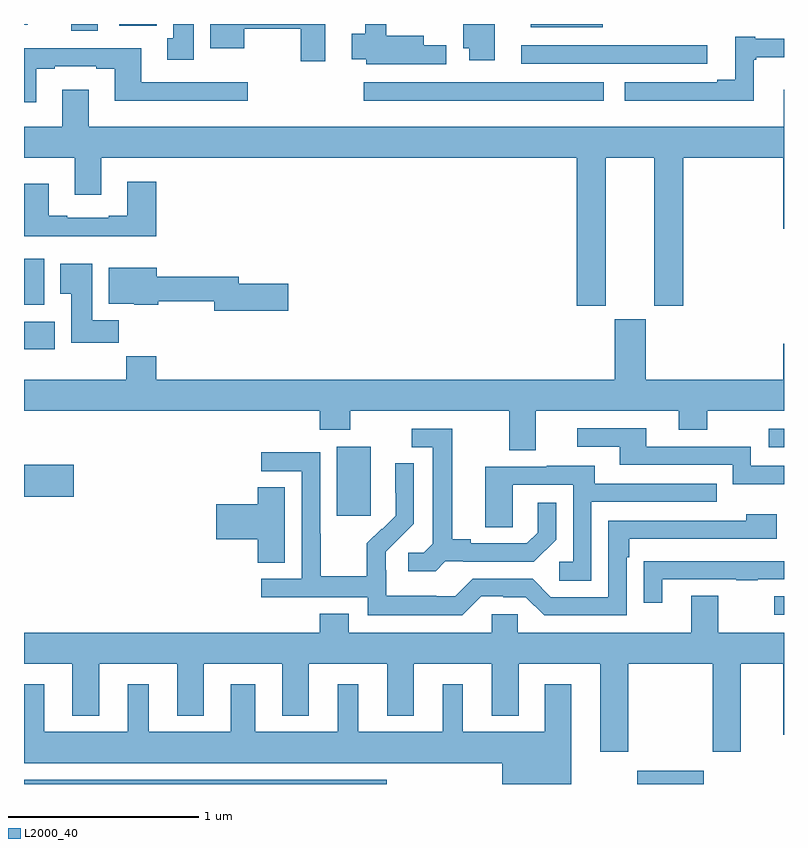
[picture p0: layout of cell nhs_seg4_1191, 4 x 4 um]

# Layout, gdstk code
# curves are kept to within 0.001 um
import gdstk
lib = gdstk.Library(unit=1e-6, precision=1e-09)
def R(c, l, rs):  # rectangles x0, y0, x1, y1
    for r in rs: c.add(gdstk.rectangle(r[:2], r[2:], *l))
def P(c, l, *ps):  # polygons
    for p in ps: c.add(gdstk.Polygon(p, *l))
L2000_40 = (2000, 40)

nhs_seg4_1191 = lib.new_cell('nhs_seg4_1191')
R(nhs_seg4_1191, L2000_40, [(173,750.9,174.91,750.922), (176.228,750.9,176.578,750.97), (176.949,751.791,177,751.887), (174.647,752.313,174.826,752.674), (173,752.411,173.263,752.581), (176.919,752.673,177,752.769), (173,753.188,173.161,753.334), (173,753.422,173.107,753.664), (174.789,754.496,176.05,754.593), (173.249,754.865,173.389,754.9), (175.667,754.883,176.047,754.9), (173.501,754.892,173.698,754.9), (173,754.896,173.02,754.9)])
P(nhs_seg4_1191, L2000_40, [(173.893,754.9),(173.786,754.9),(173.786,754.826),(173.753,754.826),(173.753,754.713),(173.893,754.713)],
  [(174.586,754.9),(173.981,754.9),(173.981,754.772),(174.16,754.772),(174.16,754.876),(174.457,754.876),(174.457,754.704),(174.586,754.704)],
  [(175.477,754.9),(175.313,754.9),(175.313,754.772),(175.343,754.772),(175.343,754.71),(175.477,754.71)],
  [(175.222,754.787),(175.105,754.787),(175.105,754.837),(174.907,754.837),(174.907,754.9),(174.797,754.9),(174.797,754.85),(174.725,754.85),(174.725,754.715),(174.801,754.715),(174.801,754.688),(175.222,754.688)],
  [(176.842,754.713),(176.854,754.713),(176.854,754.724),(177,754.724),(177,754.822),(176.848,754.822),(176.848,754.834),(176.744,754.834),(176.744,754.606),(176.648,754.606),(176.648,754.593),(176.163,754.593),(176.163,754.496),(176.842,754.496)],
  [(176.596,754.789),(176.143,754.789),(176.143,754.788),(175.617,754.788),(175.617,754.692),(176.596,754.692)],
  [(173.065,754.665),(173.161,754.665),(173.161,754.677),(173.381,754.677),(173.381,754.665),(173.477,754.665),(173.477,754.496),(174.178,754.496),(174.178,754.593),(173.617,754.593),(173.617,754.773),(173,754.773),(173,754.488),(173.065,754.488)],
  [(176.062,754.196),(176.318,754.196),(176.318,753.417),(176.471,753.417),(176.471,754.196),(176.996,754.196),(176.996,753.822),(177,753.822),(177,754.555),(176.999,754.555),(176.999,754.36),(173.341,754.36),(173.341,754.555),(173.201,754.555),(173.201,754.36),(173,754.36),(173,754.196),(173.267,754.196),(173.267,754.002),(173.407,754.002),(173.407,754.196),(175.91,754.196),(175.91,753.417),(176.062,753.417)],
  [(173.696,754.069),(173.543,754.069),(173.543,753.892),(173.447,753.892),(173.447,753.879),(173.227,753.879),(173.227,753.892),(173.131,753.892),(173.131,754.06),(173,754.06),(173,753.782),(173.696,753.782)],
  [(173.498,753.34),(173.359,753.34),(173.359,753.637),(173.192,753.637),(173.192,753.481),(173.249,753.481),(173.249,753.222),(173.498,753.222)],
  [(174.391,753.533),(174.13,753.533),(174.13,753.569),(173.698,753.569),(173.698,753.616),(173.447,753.616),(173.447,753.428),(173.58,753.428),(173.58,753.422),(173.706,753.422),(173.706,753.441),(174.002,753.441),(174.002,753.391),(174.391,753.391)],
  [(175.693,752.864),(176.447,752.864),(176.447,752.765),(176.595,752.765),(176.595,752.864),(177,752.864),(177,753.217),(176.996,753.217),(176.996,753.028),(176.272,753.028),(176.272,753.345),(176.108,753.345),(176.108,753.028),(173.696,753.028),(173.696,753.152),(173.539,753.152),(173.539,753.028),(173,753.028),(173,752.864),(174.557,752.864),(174.557,752.765),(174.717,752.765),(174.717,752.864),(175.553,752.864),(175.553,752.656),(175.693,752.656)],
  [(177,752.574),(176.826,752.574),(176.826,752.676),(176.275,752.676),(176.275,752.772),(175.911,752.772),(175.911,752.676),(176.135,752.676),(176.135,752.58),(176.73,752.58),(176.73,752.477),(177,752.477)],
  [(175.218,752.073),(175.312,752.073),(175.312,752.07),(175.684,752.07),(175.8,752.186),(175.8,752.38),(175.703,752.38),(175.703,752.223),(175.646,752.166),(175.351,752.166),(175.351,752.189),(175.255,752.189),(175.255,752.769),(175.041,752.769),(175.041,752.673),(175.151,752.673),(175.151,752.165),(175.104,752.118),(175.023,752.118),(175.023,752.021),(175.166,752.021)],
  [(175.407,751.887),(175.523,751.887),(175.523,751.884),(175.641,751.884),(175.737,751.788),(176.172,751.788),(176.172,752.093),(176.185,752.093),(176.185,752.19),(176.962,752.19),(176.962,752.32),(176.801,752.32),(176.801,752.286),(176.076,752.286),(176.076,751.884),(175.773,751.884),(175.677,751.98),(175.362,751.98),(175.269,751.887),(175.169,751.887),(175.169,751.891),(174.906,751.891),(174.906,752.025),(174.904,752.025),(174.904,752.122),(175.05,752.27),(175.05,752.588),(174.954,752.588),(174.954,752.434),(174.956,752.434),(174.956,752.312),(174.885,752.241),(174.882,752.244),(174.805,752.167),(174.805,751.993),(174.561,751.993),(174.561,752.216),(174.558,752.216),(174.558,752.646),(174.249,752.646),(174.249,752.547),(174.462,752.547),(174.462,751.98),(174.249,751.98),(174.249,751.884),(174.81,751.884),(174.81,751.787),(175.307,751.787)],
  [(175.986,752.385),(176.645,752.385),(176.645,752.481),(176.005,752.481),(176.005,752.575),(175.751,752.575),(175.751,752.571),(175.427,752.571),(175.427,752.251),(175.572,752.251),(175.572,752.475),(175.89,752.475),(175.89,752.07),(175.818,752.07),(175.818,751.969),(175.986,751.969)],
  [(174.373,752.462),(174.23,752.462),(174.23,752.372),(174.012,752.372),(174.012,752.189),(174.23,752.189),(174.23,752.065),(174.373,752.065)],
  [(176.359,751.977),(176.749,751.977),(176.749,751.972),(176.861,751.972),(176.861,751.977),(177,751.977),(177,752.073),(176.365,752.073),(176.365,752.072),(176.263,752.072),(176.263,751.854),(176.359,751.854)],
  [(173,751.532),(173.255,751.532),(173.255,751.259),(173.395,751.259),(173.395,751.532),(173.807,751.532),(173.807,751.259),(173.947,751.259),(173.947,751.532),(174.359,751.532),(174.359,751.259),(174.499,751.259),(174.499,751.532),(174.911,751.532),(174.911,751.259),(175.051,751.259),(175.051,751.532),(175.463,751.532),(175.463,751.259),(175.603,751.259),(175.603,751.532),(176.033,751.532),(176.033,751.071),(176.181,751.071),(176.181,751.532),(176.626,751.532),(176.626,751.071),(176.773,751.071),(176.773,751.532),(176.996,751.532),(176.996,751.158),(177,751.158),(177,751.696),(176.653,751.696),(176.653,751.891),(176.513,751.891),(176.513,751.696),(175.599,751.696),(175.599,751.794),(175.461,751.794),(175.461,751.696),(174.709,751.696),(174.709,751.795),(174.557,751.795),(174.557,751.696),(173,751.696)],
  [(175.879,751.426),(175.742,751.426),(175.742,751.174),(175.309,751.174),(175.309,751.426),(175.205,751.426),(175.205,751.174),(174.76,751.174),(174.76,751.426),(174.65,751.426),(174.65,751.174),(174.217,751.174),(174.217,751.426),(174.089,751.426),(174.089,751.174),(173.656,751.174),(173.656,751.426),(173.546,751.426),(173.546,751.174),(173.107,751.174),(173.107,751.426),(173,751.426),(173,751.01),(175.517,751.01),(175.517,750.9),(175.879,750.9)])

lib.write_gds('nhs_seg4_1191.gds')
